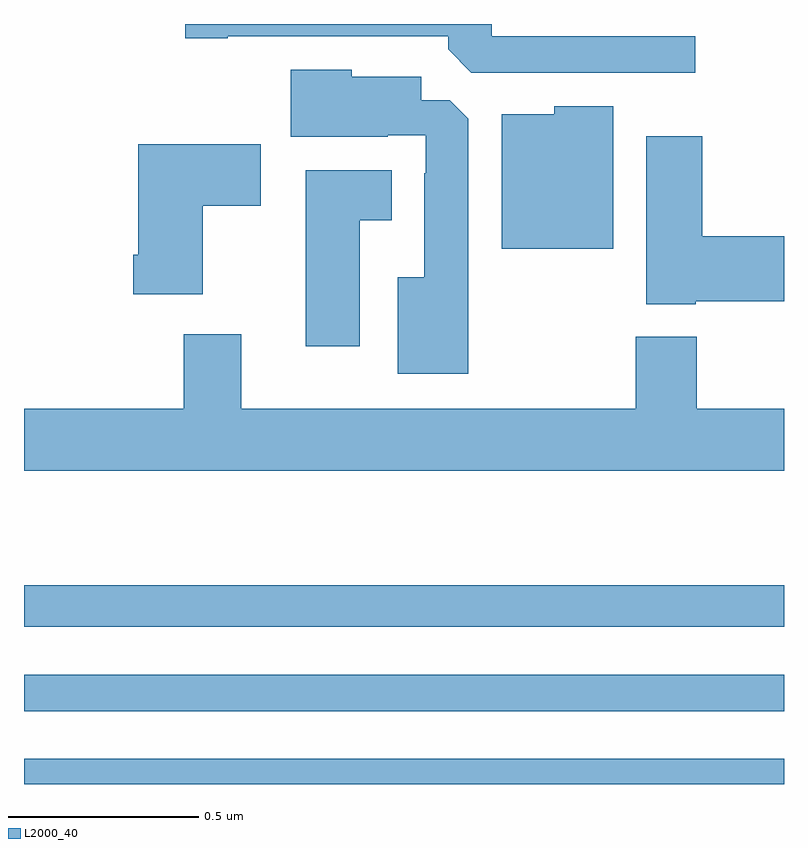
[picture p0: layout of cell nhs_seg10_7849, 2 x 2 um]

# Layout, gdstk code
import gdstk
lib = gdstk.Library(unit=1e-6, precision=1e-09)
def R(c, l, rs):  # rectangles x0, y0, x1, y1
    for r in rs: c.add(gdstk.rectangle(r[:2], r[2:], *l))
def P(c, l, *ps):  # polygons
    for p in ps: c.add(gdstk.Polygon(p, *l))
L2000_40 = (2000, 40)

nhs_seg10_7849 = lib.new_cell('nhs_seg10_7849')
R(nhs_seg10_7849, L2000_40, [(209,1291.5,211,1291.566), (209,1291.692,211,1291.788), (209,1291.914,211,1292.023)])
P(nhs_seg10_7849, L2000_40, [(210.766,1293.468),(210.231,1293.468),(210.231,1293.5),(209.424,1293.5),(209.424,1293.463),(209.536,1293.463),(209.536,1293.468),(210.116,1293.468),(210.116,1293.434),(210.177,1293.372),(210.766,1293.372)],
  [(210.169,1293.251),(210.12,1293.3),(210.046,1293.3),(210.046,1293.361),(209.862,1293.361),(209.862,1293.379),(209.702,1293.379),(209.702,1293.203),(209.957,1293.203),(209.957,1293.207),(210.057,1293.207),(210.057,1293.107),(210.053,1293.107),(210.053,1292.833),(209.984,1292.833),(209.984,1292.579),(210.169,1292.579)],
  [(210.55,1293.283),(210.396,1293.283),(210.396,1293.262),(210.257,1293.262),(210.257,1292.909),(210.55,1292.909)],
  [(210.768,1292.771),(211,1292.771),(211,1292.942),(210.785,1292.942),(210.785,1293.205),(210.638,1293.205),(210.638,1292.762),(210.768,1292.762)],
  [(209.47,1293.022),(209.623,1293.022),(209.623,1293.184),(209.3,1293.184),(209.3,1292.893),(209.288,1292.893),(209.288,1292.789),(209.47,1292.789)],
  [(209.884,1292.984),(209.968,1292.984),(209.968,1293.115),(209.741,1293.115),(209.741,1292.652),(209.884,1292.652)],
  [(211,1292.488),(210.77,1292.488),(210.77,1292.677),(210.61,1292.677),(210.61,1292.488),(209.572,1292.488),(209.572,1292.683),(209.42,1292.683),(209.42,1292.488),(209,1292.488),(209,1292.324),(211,1292.324)])

lib.write_gds('nhs_seg10_7849.gds')
